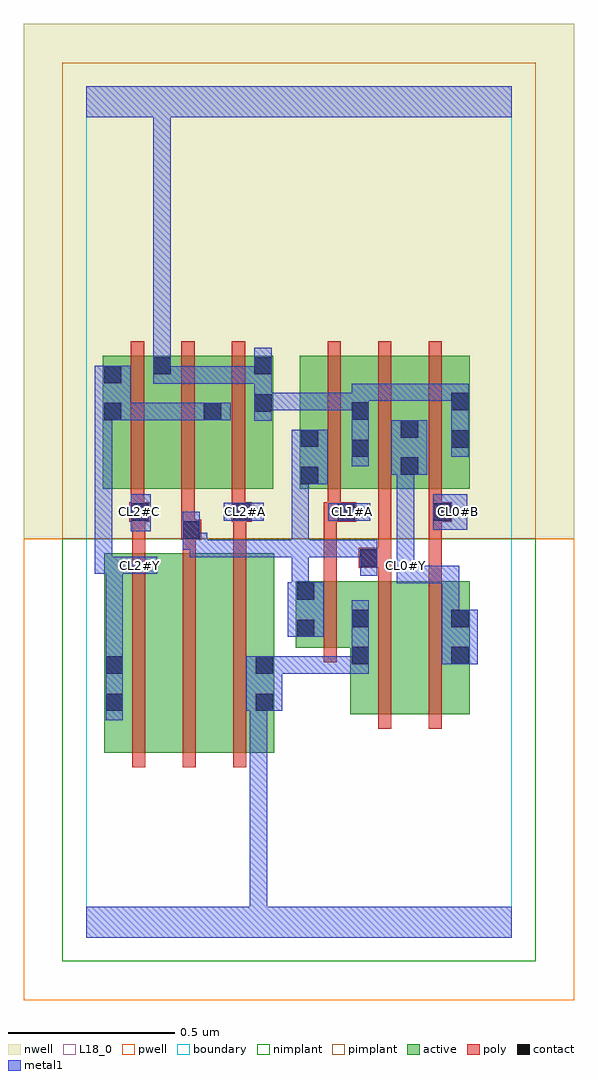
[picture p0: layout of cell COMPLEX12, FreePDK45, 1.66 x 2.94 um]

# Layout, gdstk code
import gdstk
lib = gdstk.Library(unit=1e-6, precision=1e-09)
def R(c, l, rs):  # rectangles x0, y0, x1, y1
    for r in rs: c.add(gdstk.rectangle(r[:2], r[2:], *l))
def A(c, l, x, y, w, h, nx, ny, dx, dy):  # array of equal rectangles
    R(c, l, [(x+i*dx, y+j*dy, x+i*dx+w, y+j*dy+h) for i in range(nx) for j in range(ny)])
active = (1, 0)
pwell = (2, 0)
nwell = (3, 0)
nimplant = (4, 0)
pimplant = (5, 0)
poly = (9, 0)
contact = (10, 0)
metal1 = (11, 0)
L18_0 = (18, 0)
boundary = (235, 0)

complex12 = lib.new_cell('COMPLEX12')
R(complex12, active, [(0.054,0.556,0.114,1.156), (0.054,0.556,0.234,1.156), (0.234,0.556,0.386,1.156), (0.386,0.556,0.566,1.156), (0.506,0.556,0.566,1.156), (0.794,0.672,0.974,1.072), (0.794,0.672,0.854,1.072), (0.974,0.672,1.154,1.072), (1.094,0.756,1.154,1.072), (0.63,0.872,0.854,1.072), (0.63,0.9,0.69,1.072), (0.05,1.35,0.258,1.75), (0.05,1.35,0.11,1.724), (0.198,1.35,0.258,1.75), (0.198,1.35,0.41,1.75), (0.35,1.35,0.41,1.644), (0.35,1.35,0.562,1.75), (0.502,1.35,0.562,1.75), (0.642,1.35,0.702,1.644), (0.642,1.35,0.854,1.75), (0.794,1.35,0.854,1.644), (0.794,1.35,1.002,1.75), (0.942,1.35,1.002,1.644), (0.942,1.35,1.154,1.75), (1.094,1.35,1.154,1.644)])
R(complex12, pwell, [(-0.188,-0.188,1.468,1.2)])
R(complex12, nwell, [(-0.188,1.2,1.468,2.748)])
R(complex12, nimplant, [(-0.072,-0.072,1.352,1.2)])
R(complex12, pimplant, [(-0.072,1.2,1.352,2.632)])
A(complex12, poly, 0.138, 0.512, 0.04, 0.688, 3, 1, 0.152, 0)
A(complex12, poly, 0.134, 1.306, 0.04, 0.488, 3, 1, 0.152, 0)
A(complex12, poly, 0.726, 1.306, 0.04, 0.488, 3, 1, 0.152, 0)
R(complex12, poly, [(0.878,0.628,0.918,1.116), (1.03,0.628,1.07,1.116), (0.714,0.828,0.754,1.116), (0.714,1.076,0.754,1.29), (0.878,1.076,0.918,1.152), (1.03,1.076,1.07,1.29), (0.82,1.112,0.918,1.172), (0.878,1.132,0.918,1.172), (0.878,1.132,0.918,1.172), (0.878,1.132,0.918,1.346), (0.138,1.16,0.178,1.29), (0.29,1.16,0.33,1.236), (0.442,1.16,0.482,1.29), (0.286,1.196,0.346,1.256), (0.286,1.216,0.326,1.256), (0.286,1.216,0.326,1.256), (0.286,1.216,0.326,1.346), (0.13,1.25,0.19,1.31), (0.138,1.25,0.178,1.29), (0.138,1.25,0.178,1.29), (0.438,1.25,0.498,1.31), (0.442,1.25,0.482,1.29), (0.442,1.25,0.482,1.29), (0.714,1.25,0.754,1.29), (0.714,1.25,0.754,1.29), (0.714,1.25,0.812,1.31), (1.03,1.25,1.07,1.29), (1.03,1.25,1.07,1.29), (1.03,1.25,1.1,1.31), (0.134,1.27,0.174,1.346), (0.438,1.27,0.478,1.346), (0.726,1.27,0.766,1.346), (1.03,1.27,1.07,1.346)])
R(complex12, contact, [(0.058,0.682,0.11,0.734), (0.51,0.682,0.562,0.734), (0.058,0.794,0.11,0.846), (0.51,0.794,0.562,0.846), (0.798,0.822,0.85,0.874), (1.098,0.822,1.15,0.874), (0.634,0.904,0.686,0.956), (0.798,0.934,0.85,0.986), (1.098,0.934,1.15,0.986), (0.634,1.016,0.686,1.068), (0.824,1.116,0.876,1.168), (0.29,1.2,0.342,1.252), (0.134,1.254,0.186,1.306), (0.442,1.254,0.494,1.306), (0.756,1.254,0.808,1.306), (1.044,1.254,1.096,1.306), (0.646,1.364,0.698,1.416), (0.946,1.392,0.998,1.444), (0.798,1.446,0.85,1.498), (1.098,1.474,1.15,1.526), (0.646,1.476,0.698,1.528), (0.946,1.504,0.998,1.556), (0.054,1.556,0.106,1.608), (0.354,1.556,0.406,1.608), (0.798,1.558,0.85,1.61), (0.506,1.582,0.558,1.634), (1.098,1.586,1.15,1.638), (0.054,1.668,0.106,1.72), (0.202,1.694,0.254,1.746), (0.506,1.694,0.558,1.746)])
A(complex12, metal1, 0.618, 1.144, 0.052, 0.052, 3, 1, 0.07, 0)
R(complex12, metal1, [(0,0,1.28,0.092), (0.492,0.04,0.544,0.092), (0.492,0.04,0.544,0.092), (0.492,0.04,0.544,0.092), (0.492,0.04,0.544,0.092), (0.492,0.04,0.544,0.092), (0.492,0.04,0.544,0.092), (0.492,0.04,0.544,0.734), (0.058,0.654,0.11,0.874), (0.482,0.682,0.59,0.846), (0.492,0.682,0.544,0.734), (0.492,0.682,0.544,0.734), (0.538,0.794,0.59,0.846), (0.538,0.794,0.59,0.846), (0.538,0.794,0.59,0.846), (0.538,0.794,0.59,0.846), (0.538,0.794,0.59,0.846), (0.538,0.794,0.59,0.846), (0.538,0.794,0.7,0.846), (0.648,0.794,0.7,0.846), (0.648,0.794,0.85,0.846), (0.798,0.794,0.85,1.014), (0.058,0.822,0.11,1.146), (1.07,0.822,1.178,0.986), (0.606,0.904,0.714,1.068), (1.07,0.934,1.122,1.118), (0.618,1.016,0.67,1.196), (0.934,1.066,1.122,1.118), (0.934,1.066,0.986,1.174), (1.07,1.066,1.122,1.118), (1.07,1.066,1.122,1.118), (1.07,1.066,1.122,1.118), (0.824,1.088,0.876,1.196), (0.026,1.094,0.078,1.146), (0.026,1.094,0.078,1.146), (0.026,1.094,0.214,1.146), (0.026,1.094,0.078,1.608), (0.934,1.122,0.986,1.444), (0.312,1.144,0.48,1.196), (0.312,1.144,0.364,1.218), (0.428,1.144,0.48,1.196), (0.428,1.144,0.48,1.196), (0.428,1.144,0.48,1.196), (0.428,1.144,0.67,1.196), (0.618,1.144,0.74,1.196), (0.618,1.144,0.67,1.416), (0.688,1.144,0.81,1.196), (0.758,1.144,0.876,1.196), (0.29,1.166,0.364,1.218), (0.29,1.166,0.342,1.28), (0.134,1.222,0.194,1.334), (1.044,1.226,1.146,1.334), (0.414,1.254,0.534,1.308), (0.728,1.254,0.854,1.306), (0.618,1.364,0.67,1.416), (0.618,1.364,0.67,1.416), (0.618,1.364,0.726,1.528), (0.918,1.392,1.026,1.556), (0.934,1.392,0.986,1.444), (0.934,1.392,0.986,1.444), (0.798,1.418,0.85,1.638), (1.098,1.446,1.15,1.666), (0.506,1.554,0.558,1.774), (0.026,1.556,0.134,1.72), (0.082,1.556,0.134,1.608), (0.082,1.556,0.134,1.608), (0.082,1.556,0.254,1.608), (0.202,1.556,0.254,1.608), (0.202,1.556,0.254,1.608), (0.202,1.556,0.254,1.608), (0.202,1.556,0.378,1.608), (0.326,1.556,0.434,1.608), (0.506,1.586,0.7,1.638), (0.648,1.586,0.7,1.638), (0.648,1.586,0.7,1.638), (0.648,1.586,0.7,1.638), (0.648,1.586,0.85,1.638), (0.798,1.586,0.85,1.638), (0.798,1.586,0.85,1.666), (0.798,1.614,1.012,1.666), (0.96,1.614,1.15,1.666), (0.96,1.614,1.012,1.666), (0.96,1.614,1.012,1.666), (0.96,1.614,1.012,1.666), (0.202,1.666,0.254,1.718), (0.202,1.666,0.254,1.718), (0.202,1.666,0.254,1.774), (0.202,1.666,0.364,1.718), (0.312,1.666,0.364,1.718), (0.312,1.666,0.452,1.718), (0.4,1.666,0.452,1.718), (0.4,1.666,0.558,1.718), (0.202,1.722,0.254,1.774), (0.202,1.722,0.254,1.774), (0.202,1.722,0.254,1.774), (0.202,1.722,0.254,1.774), (0.202,1.722,0.254,1.774), (0.202,1.722,0.254,1.774), (0.202,1.722,0.254,2.52), (0,2.468,1.28,2.56), (0.202,2.468,0.254,2.52), (0.202,2.468,0.254,2.52), (0.202,2.468,0.254,2.52), (0.202,2.468,0.254,2.52), (0.202,2.468,0.254,2.52), (0.202,2.468,0.254,2.52), (0.202,2.468,0.254,2.52), (0.202,2.468,0.254,2.52), (0.202,2.468,0.254,2.52), (0.202,2.468,0.254,2.52)])
A(complex12, L18_0, 0.134, 1.254, 0.052, 0.052, 4, 1, 0.32, 0)
R(complex12, L18_0, [(0,0,1.28,0.092), (0.492,0.04,0.544,0.092), (0.492,0.04,0.544,0.092), (0.492,0.04,0.544,0.092), (0.492,0.04,0.544,0.092), (0.492,0.04,0.544,0.092), (0.492,0.04,0.544,0.092), (0.492,0.04,0.544,0.734), (0.058,0.654,0.11,0.874), (0.482,0.682,0.59,0.846), (0.492,0.682,0.544,0.734), (0.492,0.682,0.544,0.734), (0.538,0.794,0.59,0.846), (0.538,0.794,0.59,0.846), (0.538,0.794,0.59,0.846), (0.538,0.794,0.59,0.846), (0.538,0.794,0.59,0.846), (0.538,0.794,0.59,0.846), (0.538,0.794,0.7,0.846), (0.648,0.794,0.7,0.846), (0.648,0.794,0.85,0.846), (0.798,0.794,0.85,1.014), (0.058,0.822,0.11,1.146), (1.07,0.822,1.178,0.986), (1.07,0.934,1.122,1.118), (0.934,1.066,1.122,1.118), (0.934,1.066,0.986,1.174), (1.07,1.066,1.122,1.118), (1.07,1.066,1.122,1.118), (1.07,1.066,1.122,1.118), (0.026,1.094,0.214,1.146), (0.026,1.094,0.078,1.146), (0.026,1.094,0.078,1.146), (0.026,1.094,0.078,1.608), (0.134,1.094,0.186,1.146), (0.934,1.094,0.986,1.146), (0.934,1.122,0.986,1.444), (0.134,1.222,0.194,1.334), (1.044,1.226,1.146,1.334), (0.414,1.254,0.534,1.308), (0.728,1.254,0.854,1.306), (0.918,1.392,1.026,1.556), (0.934,1.392,0.986,1.444), (0.934,1.392,0.986,1.444), (0.798,1.418,0.85,1.638), (1.098,1.446,1.15,1.666), (0.506,1.554,0.558,1.774), (0.026,1.556,0.134,1.72), (0.082,1.556,0.134,1.608), (0.082,1.556,0.134,1.608), (0.082,1.556,0.254,1.608), (0.202,1.556,0.254,1.608), (0.202,1.556,0.254,1.608), (0.202,1.556,0.254,1.608), (0.202,1.556,0.378,1.608), (0.326,1.556,0.434,1.608), (0.506,1.586,0.7,1.638), (0.648,1.586,0.7,1.638), (0.648,1.586,0.7,1.638), (0.648,1.586,0.7,1.638), (0.648,1.586,0.85,1.638), (0.798,1.586,0.85,1.638), (0.798,1.586,0.85,1.666), (0.798,1.614,1.012,1.666), (0.96,1.614,1.012,1.666), (0.96,1.614,1.012,1.666), (0.96,1.614,1.012,1.666), (0.96,1.614,1.15,1.666), (0.202,1.666,0.254,1.718), (0.202,1.666,0.254,1.718), (0.202,1.666,0.254,1.774), (0.202,1.666,0.364,1.718), (0.312,1.666,0.364,1.718), (0.312,1.666,0.452,1.718), (0.4,1.666,0.452,1.718), (0.4,1.666,0.558,1.718), (0.202,1.722,0.254,1.774), (0.202,1.722,0.254,1.774), (0.202,1.722,0.254,1.774), (0.202,1.722,0.254,1.774), (0.202,1.722,0.254,1.774), (0.202,1.722,0.254,1.774), (0.202,1.722,0.254,2.52), (0,2.468,1.28,2.56), (0.202,2.468,0.254,2.52), (0.202,2.468,0.254,2.52), (0.202,2.468,0.254,2.52), (0.202,2.468,0.254,2.52), (0.202,2.468,0.254,2.52), (0.202,2.468,0.254,2.52), (0.202,2.468,0.254,2.52), (0.202,2.468,0.254,2.52), (0.202,2.468,0.254,2.52), (0.202,2.468,0.254,2.52)])
R(complex12, boundary, [(0,0,1.28,2.56)])
complex12.add(gdstk.Label('CL0#B', (1.12,1.28), layer=11, texttype=0))
complex12.add(gdstk.Label('CL0#Y', (0.96,1.12), layer=11, texttype=0))
complex12.add(gdstk.Label('CL1#A', (0.8,1.28), layer=11, texttype=0))
complex12.add(gdstk.Label('CL2#A', (0.48,1.28), layer=11, texttype=0))
complex12.add(gdstk.Label('CL2#C', (0.16,1.28), layer=11, texttype=0))
complex12.add(gdstk.Label('CL2#Y', (0.16,1.12), layer=11, texttype=0))

lib.write_gds('COMPLEX12.gds')
